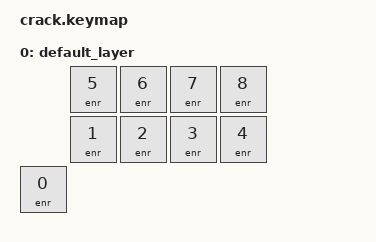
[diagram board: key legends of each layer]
#include <behaviors.dtsi>
#include <dt-bindings/zmk/keys.h>
#include <dt-bindings/zmk/bt.h>

/ {
    behaviors {
        #include "macros.dtsi"
        #include "engine.dtsi"  // only uses &enr
    };
    keymap {
        compatible = "zmk,keymap";

        default_layer {  // 0
            bindings = <
//            ╭──────────┬──────────┬──────────┬──────────╮
                 &enr 5     &enr 6     &enr 7     &enr 8
//            ├──────────┼──────────┼──────────┼──────────┤
                 &enr 1     &enr 2     &enr 3     &enr 4
//            ╰──────────┴──────────┴──────────┴──────────╯
// ╭──────────╮
      &enr 0
// ╰──────────╯
            >;
        };
    };
};
